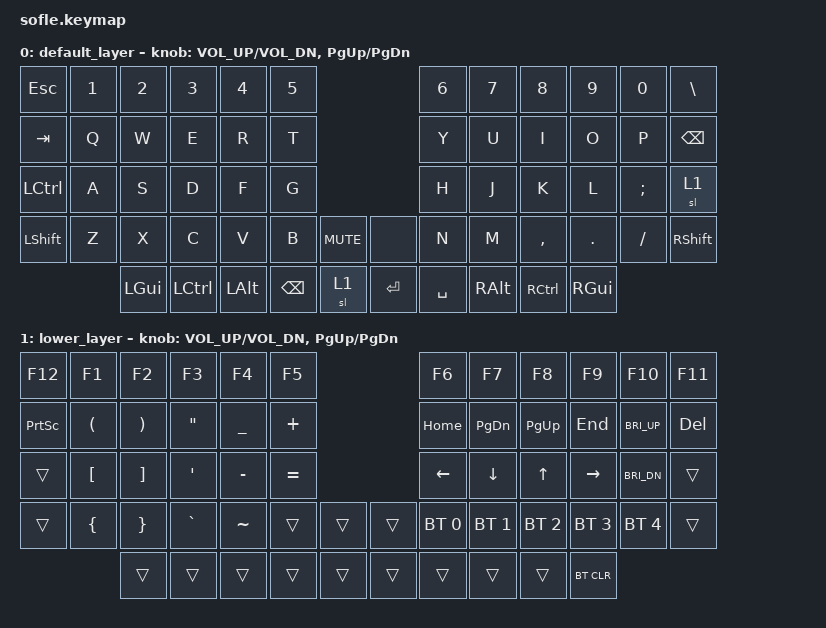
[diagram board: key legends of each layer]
/*
 * Copyright (c) 2020 The ZMK Contributors
 *
 * SPDX-License-Identifier: MIT
 */

#include <behaviors.dtsi>
#include <dt-bindings/zmk/keys.h>
#include <dt-bindings/zmk/bt.h>

&sl {
    release-after-ms = <500>;
};

/ {
    keymap {
        compatible = "zmk,keymap";

        default_layer {
// ------------------------------------------------------------------------------------------------------------
// |  ESC  |  1  |  2  |  3   |  4   |  5   |                   |  6   |  7    |  8    |  9   |   0   |   \   |
// |  TAB  |  Q  |  W  |  E   |  R   |  T   |                   |  Y   |  U    |  I    |  O   |   P   | BKSPC |
// | LCTRL |  A  |  S  |  D   |  F   |  G   |                   |  H   |  J    |  K    |  L   |   ;   | LOWER |
// | SHIFT |  Z  |  X  |  C   |  V   |  B   |  MUTE  |  |       |  N   |  M    |  ,    |  .   |   /   | SHIFT |
//               | GUI | CTRL | ALT  | BKSPC|  LOWER |  | ENTER | SPACE| ALT   | CTRL  | GUI  |
            bindings = <
&kp ESC   &kp N1 &kp N2   &kp N3    &kp N4    &kp N5                      &kp N6    &kp N7    &kp N8    &kp N9   &kp N0   &kp BSLH
&kp TAB   &kp Q  &kp W    &kp E     &kp R     &kp T                       &kp Y     &kp U     &kp I     &kp O    &kp P    &kp BSPC
&kp LCTRL &kp A  &kp S    &kp D     &kp F     &kp G                       &kp H     &kp J     &kp K     &kp L    &kp SEMI &sl 1
&kp LSHFT &kp Z  &kp X    &kp C     &kp V     &kp B    &kp C_MUTE &none   &kp N     &kp M     &kp COMMA &kp DOT  &kp FSLH &kp RSHFT
                 &kp LGUI &kp LCTRL &kp LALT  &kp BSPC &sl 1      &kp RET &kp SPACE &kp RALT  &kp RCTRL &kp RGUI
            >;

            sensor-bindings = <&inc_dec_kp C_VOL_UP C_VOL_DN &inc_dec_kp PG_UP PG_DN>;
        };

        lower_layer {
// ------------------------------------------------------------------------------------------------------------
// |  F12  |  F1 |  F2 |  F3  |  F4  |  F5  |                   |  F6  |  F7   |  F8   |  F9  |  F10  |  F11  |
// | PSCRN |  (  |  )  |  "   |  _   |  +   |                   | HOME | PGDN  | PGUP  | END  | BRIUP |  DEL  |
// |       |  [  |  ]  |  '   |  -   |  =   |                   |  <-  |   v   |   ^   |  ->  | BRIDN |       |
// |       |  {  |  }  |  `   |  ~   |      |        |  |       | BT0  | BT1   | BT2   | BT3  | BT4   |       |
//               |     |      |      |      |        |  |       |      |       |       |BTCLR |
            bindings = <
&kp F12   &kp F1    &kp F2    &kp F3    &kp F4    &kp F5                    &kp F6       &kp F7       &kp F8       &kp F9       &kp F10      &kp F11
&kp PSCRN &kp LPAR  &kp RPAR  &kp DQT   &kp UNDER &kp PLUS                  &kp HOME     &kp PG_DN    &kp PG_UP    &kp END      &kp C_BRI_UP &kp DEL
&trans    &kp LBKT  &kp RBKT  &kp SQT   &kp MINUS &kp EQUAL                 &kp LEFT     &kp DOWN     &kp UP       &kp RIGHT    &kp C_BRI_DN &trans
&trans    &kp LBRC  &kp RBRC  &kp GRAVE &kp TILDE &trans    &trans   &trans &bt BT_SEL 0 &bt BT_SEL 1 &bt BT_SEL 2 &bt BT_SEL 3 &bt BT_SEL 4 &trans
                    &trans    &trans    &trans    &trans    &trans   &trans &trans       &trans       &trans       &bt BT_CLR 
            >;

            sensor-bindings = <&inc_dec_kp C_VOL_UP C_VOL_DN &inc_dec_kp PG_UP PG_DN>;
        };
    };
};
